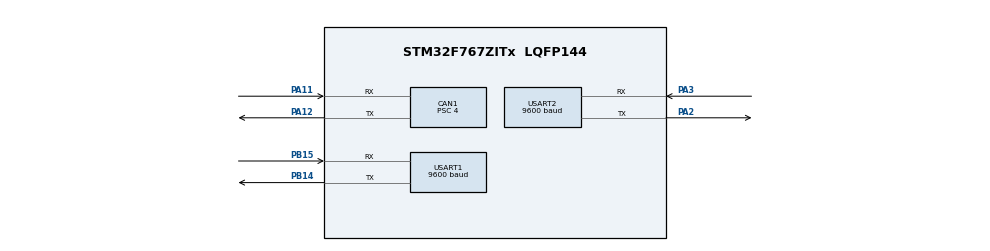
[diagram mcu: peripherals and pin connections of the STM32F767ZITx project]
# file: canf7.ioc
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CAN1.BS1=CAN_BS1_13TQ
CAN1.BS2=CAN_BS2_2TQ
CAN1.CalculateBaudRate=250000
CAN1.CalculateTimeBit=4000
CAN1.CalculateTimeQuantum=250.0
CAN1.Prescaler=4
CORTEX_M7.default_mode_Activation=1
Mcu.Family=STM32F7
Mcu.Name=STM32F767ZITx
Mcu.Package=LQFP144
NVIC.CAN1_RX0_IRQn=true\:2\:0\:true\:false\:true\:true\:true\:true
NVIC.PriorityGroup=NVIC_PRIORITYGROUP_4
NVIC.USART1_IRQn=true\:0\:0\:true\:false\:true\:true\:true\:true
NVIC.USART2_IRQn=true\:1\:0\:true\:false\:true\:true\:true\:true
PA11.Mode=CAN_Activate
PA11.Signal=CAN1_RX
PA12.Mode=CAN_Activate
PA12.Signal=CAN1_TX
PA2.Mode=Asynchronous
PA2.Signal=USART2_TX
PA3.Mode=Asynchronous
PA3.Signal=USART2_RX
PB14.Mode=Asynchronous
PB14.Signal=USART1_TX
PB15.Mode=Asynchronous
PB15.Signal=USART1_RX
ProjectManager.HeapSize=0x200
ProjectManager.StackSize=0x400
ProjectManager.TargetToolchain=STM32CubeIDE
RCC.HSE_VALUE=25000000
RCC.HSI_VALUE=16000000
RCC.LSE_VALUE=32768
RCC.USBFreq_Value=96000000
RCC.VCOOutputFreq_Value=192000000
USART1.BaudRate=9600
USART1.VirtualMode-Asynchronous=VM_ASYNC
USART2.BaudRate=9600
USART2.VirtualMode-Asynchronous=VM_ASYNC
board=custom

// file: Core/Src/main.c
/* USER CODE BEGIN Header */
/**
  ******************************************************************************
  * @file           : main.c
  * @brief          : Main program body
  ******************************************************************************
  * @attention
  *
  * Copyright (c) 2024 STMicroelectronics.
  * All rights reserved.
  *
  * This software is licensed under terms that can be found in the LICENSE file
  * in the root directory of this software component.
  * If no LICENSE file comes with this software, it is provided AS-IS.
  *
  ******************************************************************************
  */
/* USER CODE END Header */
#include "main.h"

/* USER CODE BEGIN Includes */
#include "stdio.h"
#include "string.h"
/* USER CODE END Includes */

CAN_HandleTypeDef hcan1;

UART_HandleTypeDef huart1;
UART_HandleTypeDef huart2;

/* USER CODE BEGIN PV */
CAN_RxHeaderTypeDef rxHeader;
CAN_TxHeaderTypeDef txHeader;
uint8_t canRX[8] = {0,0,0,0,0,0,0,0};
CAN_FilterTypeDef canfil;
uint32_t canMailbox;

uint8_t direction_speed_mode;
uint8_t direction;
uint16_t dc_voltage;
uint16_t motor_current;
uint16_t motor_temp;
uint16_t controller_temp;
uint16_t rotating_speed;
uint8_t error_code;
uint8_t low_power_mode;
uint16_t mileage_subtotal;
uint8_t speed_mode;
uint8_t speed;
uint8_t soc;
char gear;
char lwp;
uint8_t myMessage[50];
uint8_t myfanmessage[20];
uint8_t coming_message[1];
uint8_t cmdEnd[3] = {0xFF,0xFF,0xFF};
uint8_t buffer[20];
uint16_t buffer_index = 0;
volatile uint8_t message_ready = 0;
/* USER CODE END PV */

void SystemClock_Config(void);
static void MPU_Config(void);
static void MX_GPIO_Init(void);
static void MX_CAN1_Init(void);
static void MX_USART1_UART_Init(void);
static void MX_USART2_UART_Init(void);

int main(void)
{

  /* MPU Configuration--------------------------------------------------------*/
  MPU_Config();

  /* MCU Configuration--------------------------------------------------------*/

  /* Reset of all peripherals, Initializes the Flash interface and the Systick. */
  HAL_Init();

  /* Configure the system clock */
  SystemClock_Config();

  /* Initialize all configured peripherals */
  MX_GPIO_Init();
  MX_CAN1_Init();
  MX_USART1_UART_Init();
  MX_USART2_UART_Init();
  /* USER CODE BEGIN 2 */
  canfil.FilterBank = 0;
  canfil.FilterMode = CAN_FILTERMODE_IDMASK;
  canfil.FilterFIFOAssignment = CAN_RX_FIFO0;
  canfil.FilterIdHigh = 0;
  canfil.FilterIdLow = 0;
  canfil.FilterMaskIdHigh = 0;
  canfil.FilterMaskIdLow = 0;
  canfil.FilterScale = CAN_FILTERSCALE_32BIT;
  canfil.FilterActivation = ENABLE;
  canfil.SlaveStartFilterBank = 14;

  txHeader.DLC = 8;
  txHeader.IDE = CAN_ID_EXT;
  txHeader.RTR = CAN_RTR_DATA;
  txHeader.StdId = 0x030;
  txHeader.ExtId = 0x02;
  txHeader.TransmitGlobalTime = DISABLE;
  HAL_CAN_ConfigFilter(&hcan1,&canfil);
  HAL_CAN_Start(&hcan1);
  HAL_CAN_ActivateNotification(&hcan1,CAN_IT_RX_FIFO0_MSG_PENDING);
  HAL_UART_Receive_IT(&huart2, coming_message, sizeof(coming_message));
  /* USER CODE END 2 */

  /* Infinite loop */
  while (1)
  {

    /* USER CODE BEGIN 3 */

	  if (message_ready)
	  {
	  // Process the message
	  HAL_UART_Transmit_IT(&huart1, (uint8_t*)buffer, strlen(buffer));
	  while(HAL_UART_GetState(&huart1) != HAL_UART_STATE_READY);
// Reset buffer and flag
	  buffer_index = 0;
	  message_ready = 0;
	  }
	  if(controller_temp >=26)
	  {
		  sprintf((char*)myfanmessage,"ON\n");
		  HAL_UART_Transmit_IT(&huart2, myfanmessage, strlen((char*)myfanmessage));
		  while(HAL_UART_GetState(&huart1) != HAL_UART_STATE_READY);
	  }
	  else
	  {
		  sprintf((char*)myfanmessage,"OFF\n");
		  HAL_UART_Transmit_IT(&huart2, myfanmessage, strlen((char*)myfanmessage));
		  while(HAL_UART_GetState(&huart1) != HAL_UART_STATE_READY);
	  }

	  speed = ((rotating_speed/100)*1.23);
	  sprintf((char*)myMessage,"speed.val=%d",speed);
	  HAL_UART_Transmit_IT(&huart1, myMessage, strlen((char*)myMessage));
	  while(HAL_UART_GetState(&huart1) != HAL_UART_STATE_READY);
	  HAL_UART_Transmit_IT(&huart1, cmdEnd, sizeof(cmdEnd));
	  while(HAL_UART_GetState(&huart1) != HAL_UART_STATE_READY);

	  sprintf((char*)myMessage,"vol.val=%d",dc_voltage);
	  HAL_UART_Transmit_IT(&huart1, myMessage, strlen((char*)myMessage));
	  while(HAL_UART_GetState(&huart1) != HAL_UART_STATE_READY);
	  HAL_UART_Transmit_IT(&huart1, cmdEnd, sizeof(cmdEnd));
	  while(HAL_UART_GetState(&huart1) != HAL_UART_STATE_READY);

	  sprintf((char*)myMessage,"rpm.val=%d",rotating_speed/100);
	  HAL_UART_Transmit_IT(&huart1, myMessage, strlen((char*)myMessage));
	  while(HAL_UART_GetState(&huart1) != HAL_UART_STATE_READY);
	  HAL_UART_Transmit_IT(&huart1, cmdEnd, sizeof(cmdEnd));
	  while(HAL_UART_GetState(&huart1) != HAL_UART_STATE_READY);

	  sprintf((char*)myMessage,"amper.val=%d",motor_current);
	  HAL_UART_Transmit_IT(&huart1, myMessage, strlen((char*)myMessage));
	  while(HAL_UART_GetState(&huart1) != HAL_UART_STATE_READY);
	  HAL_UART_Transmit_IT(&huart1, cmdEnd, sizeof(cmdEnd));
	  while(HAL_UART_GetState(&huart1) != HAL_UART_STATE_READY);

	  sprintf((char*)myMessage,"motor.val=%d",motor_temp);
	  HAL_UART_Transmit_IT(&huart1, myMessage, strlen((char*)myMessage));
	  while(HAL_UART_GetState(&huart1) != HAL_UART_STATE_READY);
	  HAL_UART_Transmit_IT(&huart1, cmdEnd, sizeof(cmdEnd));
	  while(HAL_UART_GetState(&huart1) != HAL_UART_STATE_READY);

	  sprintf((char*)myMessage,"sistem.val=%d",controller_temp);
	  HAL_UART_Transmit_IT(&huart1, myMessage, strlen((char*)myMessage));
	  while(HAL_UART_GetState(&huart1) != HAL_UART_STATE_READY);
	  HAL_UART_Transmit_IT(&huart1, cmdEnd, sizeof(cmdEnd));
	  while(HAL_UART_GetState(&huart1) != HAL_UART_STATE_READY);

	  sprintf((char*)myMessage,"gear.txt=\"%c\"",gear);
	  HAL_UART_Transmit_IT(&huart1, myMessage, strlen((char*)myMessage));
	  while(HAL_UART_GetState(&huart1) != HAL_UART_STATE_READY);
	  HAL_UART_Transmit_IT(&huart1, cmdEnd, sizeof(cmdEnd));
	  while(HAL_UART_GetState(&huart1) != HAL_UART_STATE_READY);

	  soc = ((dc_voltage - 48.0) / (60.0 - 48.0)) * 100.0;
	  sprintf((char*)myMessage,"soc.val=%d",soc);
	  HAL_UART_Transmit_IT(&huart1, myMessage, strlen((char*)myMessage));
	  while(HAL_UART_GetState(&huart1) != HAL_UART_STATE_READY);
	  HAL_UART_Transmit_IT(&huart1, cmdEnd, sizeof(cmdEnd));
	  while(HAL_UART_GetState(&huart1) != HAL_UART_STATE_READY);

	  if(error_code == 0)
	  {
		  sprintf((char*)myMessage,"t2.txt=\"\"");
		  HAL_UART_Transmit_IT(&huart1, myMessage, strlen((char*)myMessage));
		  while(HAL_UART_GetState(&huart1) != HAL_UART_STATE_READY);
		  HAL_UART_Transmit_IT(&huart1, cmdEnd, sizeof(cmdEnd));
		  while(HAL_UART_GetState(&huart1) != HAL_UART_STATE_READY);

		  sprintf((char*)myMessage,"t2.bco=65535");
		  HAL_UART_Transmit_IT(&huart1, myMessage, strlen((char*)myMessage));
		  while(HAL_UART_GetState(&huart1) != HAL_UART_STATE_READY);
		  HAL_UART_Transmit_IT(&huart1, cmdEnd, sizeof(cmdEnd));
		  while(HAL_UART_GetState(&huart1) != HAL_UART_STATE_READY);
	  }
	  else{
		  sprintf((char*)myMessage,"t2.txt=\"%d\"",error_code);
		  HAL_UART_Transmit_IT(&huart1, myMessage, strlen((char*)myMessage));
		  while(HAL_UART_GetState(&huart1) != HAL_UART_STATE_READY);
		  HAL_UART_Transmit_IT(&huart1, cmdEnd, sizeof(cmdEnd));
		  while(HAL_UART_GetState(&huart1) != HAL_UART_STATE_READY);

		  sprintf((char*)myMessage,"t2.bco=63488");
		  HAL_UART_Transmit_IT(&huart1, myMessage, strlen((char*)myMessage));
		  while(HAL_UART_GetState(&huart1) != HAL_UART_STATE_READY);
		  HAL_UART_Transmit_IT(&huart1, cmdEnd, sizeof(cmdEnd));
		  while(HAL_UART_GetState(&huart1) != HAL_UART_STATE_READY);

	  }
	  //sprintf((char*)myMessage,"t2.txt=\"%c\"",gear);
	  //HAL_UART_Transmit_IT(&huart1, myMessage, strlen((char*)myMessage));
	  //while(HAL_UART_GetState(&huart1) != HAL_UART_STATE_READY);
	  //HAL_UART_Transmit_IT(&huart1, cmdEnd, sizeof(cmdEnd));
	  //while(HAL_UART_GetState(&huart1) != HAL_UART_STATE_READY);

	  if(speed_mode == 1)
	  {
		  sprintf((char*)myMessage,"eco.pic=4");
		  HAL_UART_Transmit_IT(&huart1, myMessage, strlen((char*)myMessage));
		  while(HAL_UART_GetState(&huart1) != HAL_UART_STATE_READY);
		  HAL_UART_Transmit_IT(&huart1, cmdEnd, sizeof(cmdEnd));
		  while(HAL_UART_GetState(&huart1) != HAL_UART_STATE_READY);
	  }

	  else
	  {
		  sprintf((char*)myMessage,"eco.pic=5");
		  HAL_UART_Transmit_IT(&huart1, myMessage, strlen((char*)myMessage));
		  while(HAL_UART_GetState(&huart1) != HAL_UART_STATE_READY);
		  HAL_UART_Transmit_IT(&huart1, cmdEnd, sizeof(cmdEnd));
		  while(HAL_UART_GetState(&huart1) != HAL_UART_STATE_READY);

	  }
	  HAL_Delay(30);

  }
  /* USER CODE END 3 */
}

void SystemClock_Config(void)
{
  RCC_OscInitTypeDef RCC_OscInitStruct = {0};
  RCC_ClkInitTypeDef RCC_ClkInitStruct = {0};

  /** Configure the main internal regulator output voltage
  */
  __HAL_RCC_PWR_CLK_ENABLE();
  __HAL_PWR_VOLTAGESCALING_CONFIG(PWR_REGULATOR_VOLTAGE_SCALE3);

  /** Initializes the RCC Oscillators according to the specified parameters
  * in the RCC_OscInitTypeDef structure.
  */
  RCC_OscInitStruct.OscillatorType = RCC_OSCILLATORTYPE_HSI;
  RCC_OscInitStruct.HSIState = RCC_HSI_ON;
  RCC_OscInitStruct.HSICalibrationValue = RCC_HSICALIBRATION_DEFAULT;
  RCC_OscInitStruct.PLL.PLLState = RCC_PLL_NONE;
  if (HAL_RCC_OscConfig(&RCC_OscInitStruct) != HAL_OK)
  {
    Error_Handler();
  }

  /** Initializes the CPU, AHB and APB buses clocks
  */
  RCC_ClkInitStruct.ClockType = RCC_CLOCKTYPE_HCLK|RCC_CLOCKTYPE_SYSCLK
                              |RCC_CLOCKTYPE_PCLK1|RCC_CLOCKTYPE_PCLK2;
  RCC_ClkInitStruct.SYSCLKSource = RCC_SYSCLKSOURCE_HSI;
  RCC_ClkInitStruct.AHBCLKDivider = RCC_SYSCLK_DIV1;
  RCC_ClkInitStruct.APB1CLKDivider = RCC_HCLK_DIV1;
  RCC_ClkInitStruct.APB2CLKDivider = RCC_HCLK_DIV1;

  if (HAL_RCC_ClockConfig(&RCC_ClkInitStruct, FLASH_LATENCY_0) != HAL_OK)
  {
    Error_Handler();
  }
}

static void MX_CAN1_Init(void)
{

  hcan1.Instance = CAN1;
  hcan1.Init.Prescaler = 4;
  hcan1.Init.Mode = CAN_MODE_NORMAL;
  hcan1.Init.SyncJumpWidth = CAN_SJW_1TQ;
  hcan1.Init.TimeSeg1 = CAN_BS1_13TQ;
  hcan1.Init.TimeSeg2 = CAN_BS2_2TQ;
  hcan1.Init.TimeTriggeredMode = DISABLE;
  hcan1.Init.AutoBusOff = DISABLE;
  hcan1.Init.AutoWakeUp = DISABLE;
  hcan1.Init.AutoRetransmission = DISABLE;
  hcan1.Init.ReceiveFifoLocked = DISABLE;
  hcan1.Init.TransmitFifoPriority = DISABLE;
  if (HAL_CAN_Init(&hcan1) != HAL_OK)
  {
    Error_Handler();
  }

}

static void MX_USART1_UART_Init(void)
{

  huart1.Instance = USART1;
  huart1.Init.BaudRate = 9600;
  huart1.Init.WordLength = UART_WORDLENGTH_8B;
  huart1.Init.StopBits = UART_STOPBITS_1;
  huart1.Init.Parity = UART_PARITY_NONE;
  huart1.Init.Mode = UART_MODE_TX_RX;
  huart1.Init.HwFlowCtl = UART_HWCONTROL_NONE;
  huart1.Init.OverSampling = UART_OVERSAMPLING_16;
  huart1.Init.OneBitSampling = UART_ONE_BIT_SAMPLE_DISABLE;
  huart1.AdvancedInit.AdvFeatureInit = UART_ADVFEATURE_NO_INIT;
  if (HAL_UART_Init(&huart1) != HAL_OK)
  {
    Error_Handler();
  }

}

static void MX_USART2_UART_Init(void)
{

  huart2.Instance = USART2;
  huart2.Init.BaudRate = 9600;
  huart2.Init.WordLength = UART_WORDLENGTH_8B;
  huart2.Init.StopBits = UART_STOPBITS_1;
  huart2.Init.Parity = UART_PARITY_NONE;
  huart2.Init.Mode = UART_MODE_TX_RX;
  huart2.Init.HwFlowCtl = UART_HWCONTROL_NONE;
  huart2.Init.OverSampling = UART_OVERSAMPLING_16;
  huart2.Init.OneBitSampling = UART_ONE_BIT_SAMPLE_DISABLE;
  huart2.AdvancedInit.AdvFeatureInit = UART_ADVFEATURE_NO_INIT;
  if (HAL_UART_Init(&huart2) != HAL_OK)
  {
    Error_Handler();
  }

}

static void MX_GPIO_Init(void)
{

  /* GPIO Ports Clock Enable */
  __HAL_RCC_GPIOA_CLK_ENABLE();
  __HAL_RCC_GPIOB_CLK_ENABLE();

}

/* USER CODE BEGIN 4 */
void HAL_CAN_RxFifo0MsgPendingCallback(CAN_HandleTypeDef *hcan1)
{
	HAL_CAN_GetRxMessage(hcan1, CAN_RX_FIFO0, &rxHeader, canRX);
	 if (rxHeader.IDE == CAN_ID_EXT && rxHeader.ExtId == 0x10F8108D)
	    {
	        dc_voltage = (uint16_t)(canRX[1] << 8 | canRX[0]) * 0.1f;
	        motor_current = (uint16_t)(canRX[3] << 8 | canRX[2]) * 0.1f;
	        motor_temp = (uint16_t)(canRX[5] << 8 | canRX[4]) * 0.1f;
	        controller_temp = (uint16_t)(canRX[7] << 8 | canRX[6]) * 0.1f;

	    }
	 else if (rxHeader.IDE == CAN_ID_EXT && rxHeader.ExtId == 0x10F8109A)
	 {
	        direction_speed_mode = canRX[0];
	        rotating_speed = (uint16_t)(canRX[2] << 8 | canRX[1]);
	        error_code = canRX[3];
	        low_power_mode = canRX[4];
	        mileage_subtotal = (uint16_t)(canRX[6] << 8 | canRX[5]) * 0.1f;

	        direction = direction_speed_mode & 0x03;
	        speed_mode = (direction_speed_mode & 0x08) >> 3;

	        switch(direction) {
	            case 1:
	                gear = 'D';
	                break;
	            case 2:
	            	gear = 'R';
	                break;
	            default:
	            	gear = 'N';
	                break;
	        }

	 }

}

void HAL_UART_RxCpltCallback(UART_HandleTypeDef *huart)
{
    if (huart->Instance == USART2)
    {
        if (buffer_index < sizeof(buffer) - 3) // Reserve space for 3 0xFF
        {
            if (coming_message[0] == '\n')
            {
                // Replace '\n' with three 0xFF bytes
                buffer[buffer_index++] = 0xFF;
                buffer[buffer_index++] = 0xFF;
                buffer[buffer_index++] = 0xFF;
                buffer[buffer_index++] = 0xFF;

                // Null-terminate the string
                buffer[buffer_index] = '\0';

                // Set flag to indicate message is ready
                message_ready = 1;
            }
            else
            {
                // Add the character to the buffer
                buffer[buffer_index++] = coming_message[0];
            }
        }
        else
        {
            // Buffer overflow, reset the buffer
            buffer_index = 0;
        }

        // Re-enable UART receive interrupt
        HAL_UART_Receive_IT(&huart2, coming_message, sizeof(coming_message));
    }
}
/* USER CODE END 4 */

 /* MPU Configuration */

void MPU_Config(void)
{
  MPU_Region_InitTypeDef MPU_InitStruct = {0};

  /* Disables the MPU */
  HAL_MPU_Disable();

  /** Initializes and configures the Region and the memory to be protected
  */
  MPU_InitStruct.Enable = MPU_REGION_ENABLE;
  MPU_InitStruct.Number = MPU_REGION_NUMBER0;
  MPU_InitStruct.BaseAddress = 0x0;
  MPU_InitStruct.Size = MPU_REGION_SIZE_4GB;
  MPU_InitStruct.SubRegionDisable = 0x87;
  MPU_InitStruct.TypeExtField = MPU_TEX_LEVEL0;
  MPU_InitStruct.AccessPermission = MPU_REGION_NO_ACCESS;
  MPU_InitStruct.DisableExec = MPU_INSTRUCTION_ACCESS_DISABLE;
  MPU_InitStruct.IsShareable = MPU_ACCESS_SHAREABLE;
  MPU_InitStruct.IsCacheable = MPU_ACCESS_NOT_CACHEABLE;
  MPU_InitStruct.IsBufferable = MPU_ACCESS_NOT_BUFFERABLE;

  HAL_MPU_ConfigRegion(&MPU_InitStruct);
  /* Enables the MPU */
  HAL_MPU_Enable(MPU_PRIVILEGED_DEFAULT);

}

void Error_Handler(void)
{
  __disable_irq();
  while (1)
  {
  }
}
